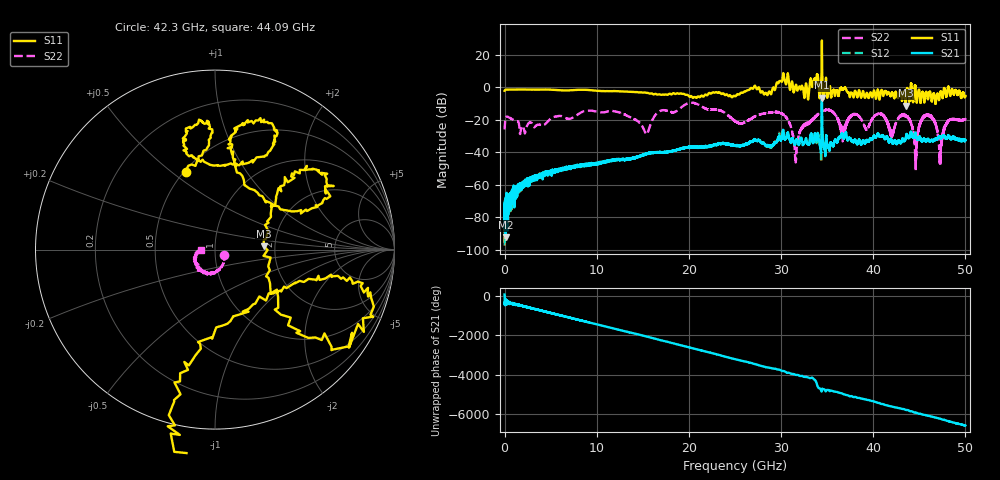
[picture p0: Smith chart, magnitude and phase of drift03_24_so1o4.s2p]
!Created with skrf (http://scikit-rf.org).
# Hz S RI R 50.0
!freq ReS11 ImS11 ReS21 ImS21 ReS12 ImS12 ReS22 ImS22
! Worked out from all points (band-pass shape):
!   10000 points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, 5.3 MHz to 50 GHz, reference 50 ohm
!   highest |S21| = -6.43 dB at 34.43 GHz (marker M1); lowest = -92.4 dB at 120.3 MHz (marker M2)
!   |S21| within 3 dB of the highest: 34.42739 GHz to 34.43471 GHz (7.315 MHz wide, 0.0212 % of centre)
!   lowest |S11| = -11.3 dB at 43.52 GHz (marker M3), VSWR 1.75, Z = 87.2 + j3.36 ohm
!   |S11| at or under -10 dB: 43.49379 GHz to 43.54181 GHz (48.02 MHz wide, 0.11 % of centre); 46.74874 GHz to 46.7539 GHz (5.162 MHz wide, 0.011 % of centre); 46.76407 GHz to 46.76603 GHz (1.956 MHz wide, 0.00418 % of centre)
!   |S22| runs from -51.9 to -9.4 dB; largest |S21 - S12| = 0.14
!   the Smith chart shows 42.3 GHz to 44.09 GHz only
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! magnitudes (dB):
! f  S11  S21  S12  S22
! 5.3 MHz  -2.1  -73.3  -75.0  -25.9
! 120.3 MHz  -1.5  -92.4  -74.3  -18.4
! 2.775 GHz  -1.4  -57.8  -57.5  -21.5
! 8.34 GHz  -1.5  -48.3  -48.3  -15.3
! 15.39 GHz  -3.5  -40.8  -41.0  -28.7
! 16.67 GHz  -4.4  -40.0  -40.0  -15.3
! 20.44 GHz  -6.5  -36.8  -37.0  -9.5
! 25.01 GHz  -5.5  -35.7  -36.2  -20.8
! 29.96 GHz  3.9  -32.5  -32.3  -15.7
! 31.61 GHz  1.6  -33.4  -33.7  -44.9
! 33.34 GHz  2.5  -30.3  -30.7  -20.2
! 34.43 GHz  28.9  -6.4  -8.1  -14.6
! 36.69 GHz  -1.4  -29.8  -29.7  -29.3
! 37.96 GHz  -3.4  -32.6  -32.6  -16.6
! 41.67 GHz  -3.2  -33.4  -33.5  -23.7
! 43.52 GHz  -11.3  -31.3  -31.3  -17.2
! 44.61 GHz  -1.4  -29.0  -29.1  -45.1
! 45.33 GHz  -3.0  -33.1  -33.1  -19.2
! 46.28 GHz  -5.8  -32.7  -32.8  -17.8
! 47.29 GHz  -3.1  -30.7  -30.7  -45.4
! 48.15 GHz  0.4  -30.0  -29.7  -20.4
! 50 GHz  -5.3  -32.5  -33.2  -19.7
